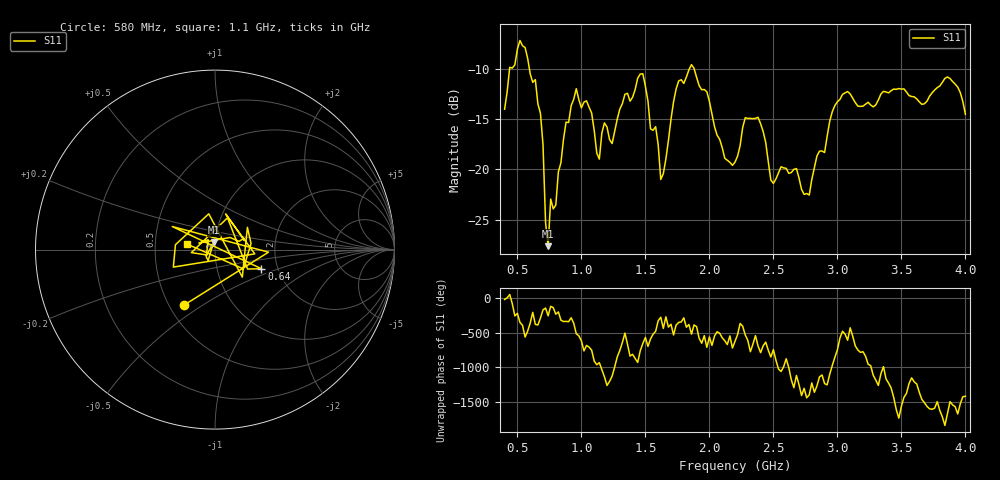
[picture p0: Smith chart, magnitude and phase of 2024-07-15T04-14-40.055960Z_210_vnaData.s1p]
!Created with skrf (http://scikit-rf.org).
# Hz S RI R 50.0
!freq ReS11 ImS11
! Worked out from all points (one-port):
!   181 points, 400 MHz to 4 GHz, reference 50 ohm
!   lowest |S11| = -27.6 dB at 740 MHz (marker M1), VSWR 1.09, Z = 49.1 + j4.02 ohm
!   |S11| at or under -10 dB: start of sweep to 438.8 MHz; 593.4 MHz to 1.844 GHz (1.251 GHz wide, 103 % of centre); 1.881 GHz to end of sweep
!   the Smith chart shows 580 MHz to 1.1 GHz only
!   S11 on the Smith chart (normalised r, x): 580 MHz: 0.59, -0.42; 640 MHz: 1.64, -0.38; 1.1 GHz: 0.73, +0.04
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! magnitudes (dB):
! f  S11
! 400 MHz  -14.0
! 520 MHz  -7.2
! 580 MHz  -9.0
! 640 MHz  -11.1
! 700 MHz  -17.5
! 720 MHz  -25.3
! 740 MHz  -27.6
! 760 MHz  -22.9
! 800 MHz  -23.5
! 860 MHz  -17.0
! 960 MHz  -12.0
! 1.1 GHz  -16.1
! 1.14 GHz  -19.0
! 1.3 GHz  -14.0
! 1.48 GHz  -10.5
! 1.62 GHz  -21.0
! 1.76 GHz  -11.2
! 1.86 GHz  -9.6
! 2.2 GHz  -19.3
! 2.38 GHz  -14.8
! 2.48 GHz  -21.0
! 2.66 GHz  -20.0
! 2.78 GHz  -22.5
! 2.96 GHz  -14.3
! 3.1 GHz  -12.5
! 3.56 GHz  -12.7
! 3.86 GHz  -10.8
! 4 GHz  -14.5
